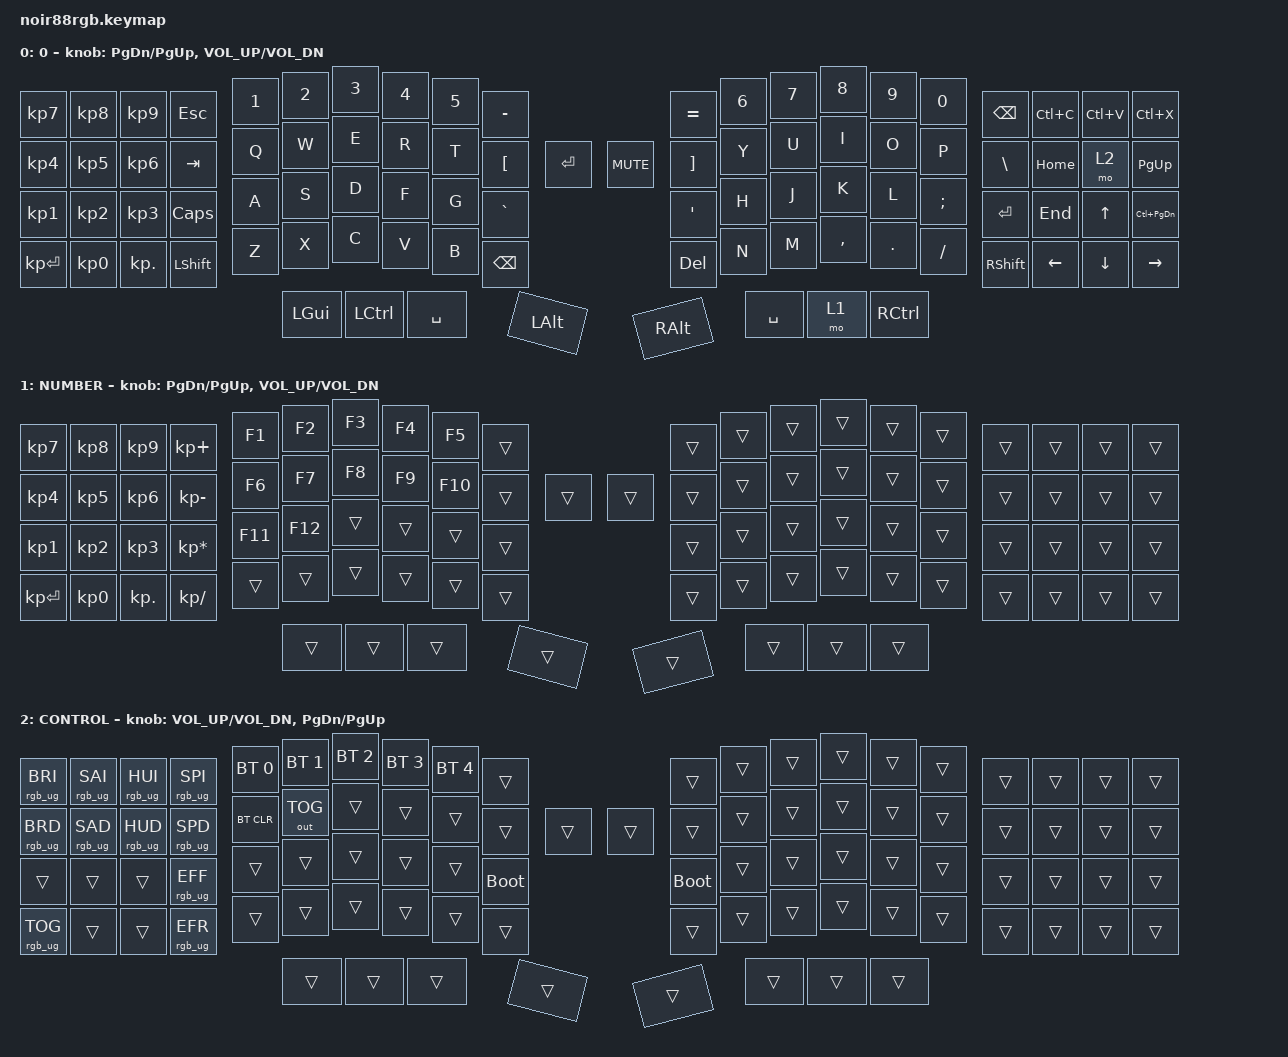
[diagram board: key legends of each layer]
/*
 * Copyright (c) 2020 The ZMK Contributors
 *
 * SPDX-License-Identifier: MIT
 */

#include <behaviors.dtsi>
#include <dt-bindings/zmk/bt.h>
#include <dt-bindings/zmk/keys.h>
#include <dt-bindings/zmk/outputs.h>
#include <dt-bindings/zmk/rgb.h>

/ {
    keymap {
        compatible = "zmk,keymap";

        layer_0 {
            label = "QWERT";
            bindings = <
&kp KP_N7     &kp KP_N8  &kp KP_N9   &kp ESC    &kp N1  &kp N2    &kp N3     &kp N4     &kp N5    &kp MINUS      &kp EQUAL   &kp N6    &kp N7     &kp N8     &kp N9     &kp N0    &kp BACKSPACE  &kp LC(C)  &kp LC(V)  &kp LC(X)
&kp KP_N4     &kp KP_N5  &kp KP_N6   &kp TAB    &kp Q   &kp W     &kp E      &kp R      &kp T     &kp LBKT       &kp RBKT    &kp Y     &kp U      &kp I      &kp O      &kp P     &kp BSLH       &kp HOME   &mo 2      &kp PG_UP
&kp KP_N1     &kp KP_N2  &kp KP_N3   &kp CAPS   &kp A   &kp S     &kp D      &kp F      &kp G     &kp GRAVE      &kp SQT     &kp H     &kp J      &kp K      &kp L      &kp SEMI  &kp ENTER      &kp END    &kp UP     &kp LC(PG_DN)
&kp KP_ENTER  &kp KP_N0  &kp KP_DOT  &kp LSHFT  &kp Z   &kp X     &kp C      &kp V      &kp B     &kp BACKSPACE  &kp DEL     &kp N     &kp M      &kp COMMA  &kp DOT    &kp FSLH  &kp RSHFT      &kp LEFT   &kp DOWN   &kp RIGHT
                                                        &kp LGUI  &kp LCTRL  &kp SPACE  &kp LALT  &kp ENTER      &kp C_MUTE  &kp RALT  &kp SPACE  &mo 1      &kp RCTRL
            >;

            sensor-bindings =
                <&inc_dec_kp PG_DN PG_UP>,
                <&inc_dec_kp C_VOL_UP C_VOL_DN>;

            label = "0";
        };

        layer_1 {
            label = "NUMBER";
            bindings = <
&kp KP_N7     &kp KP_N8  &kp KP_N9   &kp KP_PLUS      &kp F1   &kp F2   &kp F3  &kp F4  &kp F5   &trans  &trans  &trans  &trans  &trans  &trans  &trans  &trans  &trans  &trans  &trans
&kp KP_N4     &kp KP_N5  &kp KP_N6   &kp KP_MINUS     &kp F6   &kp F7   &kp F8  &kp F9  &kp F10  &trans  &trans  &trans  &trans  &trans  &trans  &trans  &trans  &trans  &trans  &trans
&kp KP_N1     &kp KP_N2  &kp KP_N3   &kp KP_MULTIPLY  &kp F11  &kp F12  &trans  &trans  &trans   &trans  &trans  &trans  &trans  &trans  &trans  &trans  &trans  &trans  &trans  &trans
&kp KP_ENTER  &kp KP_N0  &kp KP_DOT  &kp KP_DIVIDE    &trans   &trans   &trans  &trans  &trans   &trans  &trans  &trans  &trans  &trans  &trans  &trans  &trans  &trans  &trans  &trans
                                                               &trans   &trans  &trans  &trans   &trans  &trans  &trans  &trans  &trans  &trans
            >;

            sensor-bindings =
                <&inc_dec_kp PG_DN PG_UP>,
                <&inc_dec_kp C_VOL_UP C_VOL_DN>;
        };

        layer_2 {
            // ------------------------------------------------------------------------------------------------------------
            // |RGB BRI+|RGB SAT+|RGB HUE+|RGB SPD+|F1     |F2     |F3        |F4     |F5     |ESC    |              |BACK   |F6      |F7    |F8        |F9    |F10   |F11   |F12   |COPY  |PASTE |
            // |RGB BRI-|RGB SAT-|RGB HUE-|RGB SPD-|BT_CLR |W      |E         |R      |T      |TAB    |              |`      |Y       |U     |I         |O     |P     |"["   |"]"   |\     |HOME  |
            // |BT1     |BT2     |BT3     |RGB ANI+|A      |S      |D         |F      |G      |CAP    |              |ENTER  |H       |J     |K         |L     |/     |;     |'     |UP    |END   |
            // |RGB TOG |BT4     |BT5     |RGB ANI-|Z      |X      |BOOTLOADER|V      |B      |SHIFT  |EC11  ||EC11  |SHIFT  |B       |N     |BOOTLOADER|,     |.     |DEL   |LEFT  |DOWN  |RIGHT |
            //                                                     |GUI       |CTRL   |ALT    |SPACE  |              |SPACE  |ALT     |CTRL  |LOWER     |

            bindings = <
&rgb_ug RGB_BRI  &rgb_ug RGB_SAI  &rgb_ug RGB_HUI  &rgb_ug RGB_SPI  &bt BT_SEL 0  &bt BT_SEL 1  &bt BT_SEL 2  &bt BT_SEL 3  &bt BT_SEL 4  &trans       &trans       &trans  &trans  &trans  &trans  &trans  &trans  &trans  &trans  &trans
&rgb_ug RGB_BRD  &rgb_ug RGB_SAD  &rgb_ug RGB_HUD  &rgb_ug RGB_SPD  &bt BT_CLR    &out OUT_TOG  &trans        &trans        &trans        &trans       &trans       &trans  &trans  &trans  &trans  &trans  &trans  &trans  &trans  &trans
&trans           &trans           &trans           &rgb_ug RGB_EFF  &trans        &trans        &trans        &trans        &trans        &bootloader  &bootloader  &trans  &trans  &trans  &trans  &trans  &trans  &trans  &trans  &trans
&rgb_ug RGB_TOG  &trans           &trans           &rgb_ug RGB_EFR  &trans        &trans        &trans        &trans        &trans        &trans       &trans       &trans  &trans  &trans  &trans  &trans  &trans  &trans  &trans  &trans
                                                                                  &trans        &trans        &trans        &trans        &trans       &trans       &trans  &trans  &trans  &trans
            >;

            sensor-bindings =
                <&inc_dec_kp C_VOL_UP C_VOL_DN>,
                <&inc_dec_kp PG_DN PG_UP>;

            label = "CONTROL";
        };
    };
};
